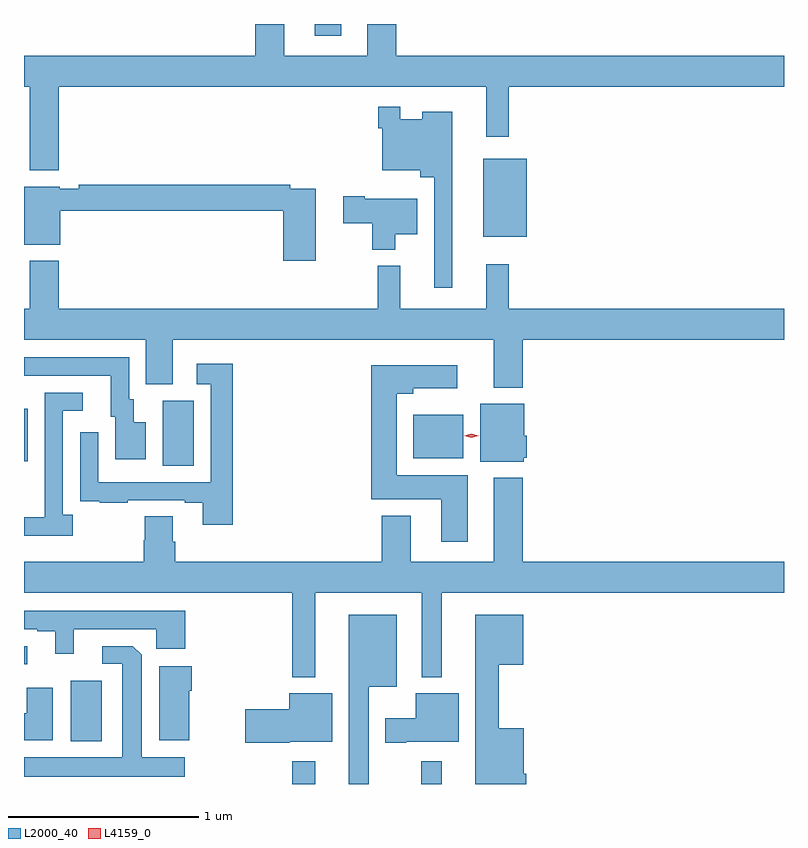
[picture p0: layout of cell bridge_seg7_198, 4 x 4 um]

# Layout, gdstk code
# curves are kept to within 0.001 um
import gdstk
lib = gdstk.Library(unit=1e-6, precision=1e-09)
def R(c, l, rs):  # rectangles x0, y0, x1, y1
    for r in rs: c.add(gdstk.rectangle(r[:2], r[2:], *l))
def P(c, l, *ps):  # polygons
    for p in ps: c.add(gdstk.Polygon(p, *l))
L2000_40 = (2000, 40)
L4159_0 = (4159, 0)

bridge_seg7_198 = lib.new_cell('bridge_seg7_198')
R(bridge_seg7_198, L2000_40, [(516.804,1016.926,516.925,1017.046), (517.485,1016.926,517.591,1017.046), (515.639,1017.152,515.803,1017.469), (515.393,1017.555,515.41,1017.651), (516.122,1018.6,516.286,1018.944), (515.393,1018.625,515.413,1018.9), (517.442,1018.64,517.705,1018.87), (517.811,1019.807,518.038,1020.217), (516.923,1020.864,517.063,1020.926)])
P(bridge_seg7_198, L2000_40, [(515.576,1020.596),(517.826,1020.596),(517.826,1020.333),(517.943,1020.333),(517.943,1020.596),(519.393,1020.596),(519.393,1020.76),(517.352,1020.76),(517.352,1020.926),(517.199,1020.926),(517.199,1020.76),(516.763,1020.76),(516.763,1020.926),(516.611,1020.926),(516.611,1020.76),(515.393,1020.76),(515.393,1020.596),(515.423,1020.596),(515.423,1020.155),(515.576,1020.155)],
  [(517.648,1020.463),(517.49,1020.463),(517.49,1020.424),(517.374,1020.424),(517.374,1020.49),(517.258,1020.49),(517.258,1020.377),(517.278,1020.377),(517.278,1020.155),(517.478,1020.155),(517.478,1020.119),(517.551,1020.119),(517.551,1019.538),(517.648,1019.538)],
  [(516.928,1020.06),(516.794,1020.06),(516.794,1020.08),(515.68,1020.08),(515.68,1020.06),(515.58,1020.06),(515.58,1020.07),(515.393,1020.07),(515.393,1019.765),(515.584,1019.765),(515.584,1019.944),(516.758,1019.944),(516.758,1019.679),(516.928,1019.679)],
  [(517.348,1019.819),(517.462,1019.819),(517.462,1020.007),(517.186,1020.007),(517.186,1020.02),(517.074,1020.02),(517.074,1019.878),(517.226,1019.878),(517.226,1019.738),(517.348,1019.738)],
  [(518.018,1019.264),(519.393,1019.264),(519.393,1019.428),(517.943,1019.428),(517.943,1019.662),(517.826,1019.662),(517.826,1019.428),(517.373,1019.428),(517.373,1019.653),(517.255,1019.653),(517.255,1019.428),(515.576,1019.428),(515.576,1019.68),(515.423,1019.68),(515.423,1019.428),(515.393,1019.428),(515.393,1019.264),(516.035,1019.264),(516.035,1019.029),(516.175,1019.029),(516.175,1019.264),(517.865,1019.264),(517.865,1019.012),(518.018,1019.012)],
  [(516.034,1018.831),(515.971,1018.831),(515.971,1018.95),(515.946,1018.95),(515.946,1019.172),(515.393,1019.172),(515.393,1019.076),(515.849,1019.076),(515.849,1018.86),(515.873,1018.86),(515.873,1018.635),(516.034,1018.635)],
  [(516.491,1019.137),(516.303,1019.137),(516.303,1019.031),(516.375,1019.031),(516.375,1018.515),(515.784,1018.515),(515.784,1018.777),(515.688,1018.777),(515.688,1018.522),(515.689,1018.522),(515.689,1018.413),(515.791,1018.413),(515.791,1018.407),(515.939,1018.407),(515.939,1018.419),(516.239,1018.419),(516.239,1018.407),(516.335,1018.407),(516.335,1018.29),(516.491,1018.29)],
  [(517.729,1018.552),(517.354,1018.552),(517.354,1018.979),(517.441,1018.979),(517.441,1019.009),(517.672,1019.009),(517.672,1019.131),(517.22,1019.131),(517.22,1018.424),(517.589,1018.424),(517.589,1018.2),(517.729,1018.2)],
  [(515.65,1018.342),(515.598,1018.342),(515.598,1018.89),(515.701,1018.89),(515.701,1018.986),(515.502,1018.986),(515.502,1018.529),(515.501,1018.529),(515.501,1018.329),(515.393,1018.329),(515.393,1018.232),(515.65,1018.232)],
  [(518.022,1018.644),(518.038,1018.644),(518.038,1018.758),(518.026,1018.758),(518.026,1018.927),(517.793,1018.927),(517.793,1018.622),(518.022,1018.622)],
  [(516.925,1017.932),(517.487,1017.932),(517.487,1017.488),(517.591,1017.488),(517.591,1017.932),(519.393,1017.932),(519.393,1018.096),(518.018,1018.096),(518.018,1018.537),(517.865,1018.537),(517.865,1018.096),(517.429,1018.096),(517.429,1018.339),(517.277,1018.339),(517.277,1018.096),(516.188,1018.096),(516.188,1018.202),(516.175,1018.202),(516.175,1018.334),(516.028,1018.334),(516.028,1018.209),(516.023,1018.209),(516.023,1018.096),(515.393,1018.096),(515.393,1017.932),(516.804,1017.932),(516.804,1017.488),(516.925,1017.488)],
  [(515.656,1017.741),(516.09,1017.741),(516.09,1017.638),(516.242,1017.638),(516.242,1017.837),(515.393,1017.837),(515.393,1017.741),(515.462,1017.741),(515.462,1017.729),(515.558,1017.729),(515.558,1017.612),(515.656,1017.612)],
  [(518.036,1016.98),(518.023,1016.98),(518.023,1017.22),(517.891,1017.22),(517.891,1017.554),(518.02,1017.554),(518.02,1017.817),(517.769,1017.817),(517.769,1016.926),(518.036,1016.926)],
  [(517.207,1017.437),(517.354,1017.437),(517.354,1017.817),(517.103,1017.817),(517.103,1016.926),(517.207,1016.926)],
  [(516.238,1017.067),(516.013,1017.067),(516.012,1017.605),(515.966,1017.651),(515.805,1017.651),(515.805,1017.558),(515.909,1017.558),(515.909,1017.067),(515.393,1017.067),(515.393,1016.963),(516.238,1016.963)],
  [(516.262,1017.416),(516.275,1017.416),(516.275,1017.547),(516.104,1017.547),(516.104,1017.155),(516.262,1017.155)],
  [(515.545,1017.433),(515.408,1017.433),(515.408,1017.298),(515.393,1017.298),(515.393,1017.155),(515.545,1017.155)],
  [(517.405,1017.149),(517.681,1017.149),(517.681,1017.403),(517.454,1017.403),(517.454,1017.271),(517.293,1017.271),(517.293,1017.142),(517.405,1017.142)],
  [(516.792,1017.149),(517.015,1017.149),(517.015,1017.403),(516.788,1017.403),(516.788,1017.32),(516.558,1017.32),(516.558,1017.142),(516.792,1017.142)])
P(bridge_seg7_198, L4159_0, [(517.748,1018.749),(517.71,1018.759),(517.71,1018.759),(517.71,1018.759),(517.748,1018.769),(517.786,1018.759),(517.786,1018.759),(517.786,1018.759)])

lib.write_gds('bridge_seg7_198.gds')
